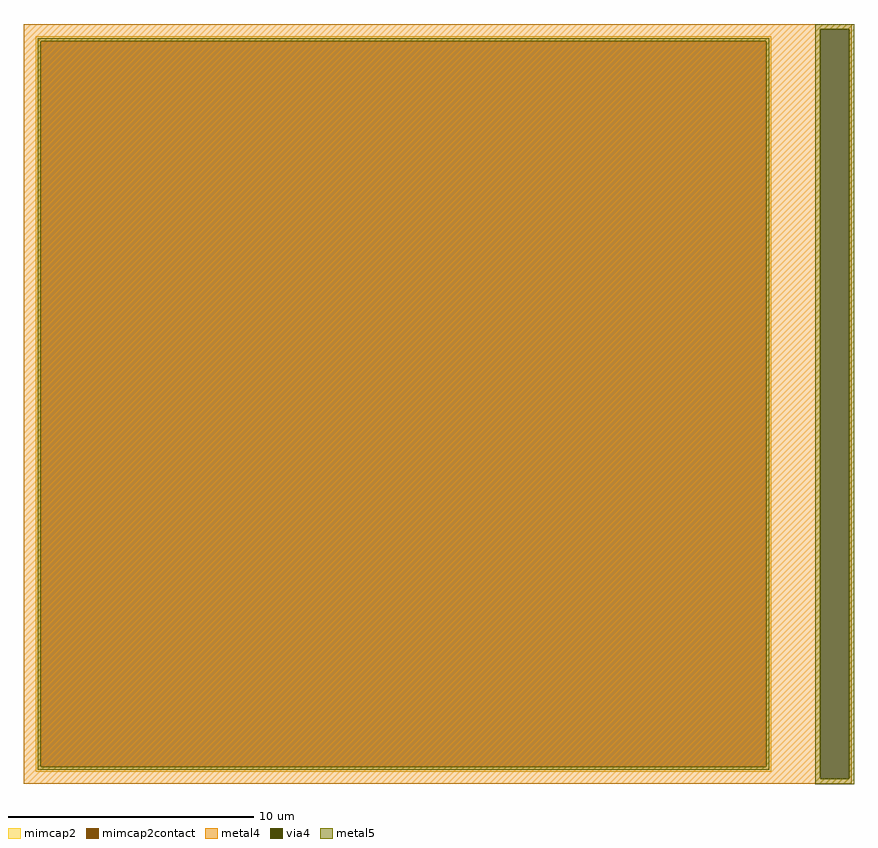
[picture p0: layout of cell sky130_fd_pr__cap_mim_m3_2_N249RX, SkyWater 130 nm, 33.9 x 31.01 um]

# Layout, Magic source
magic
tech sky130A
magscale 1 2
<< metal4 >>
rect -3379 3059 3379 3100
rect -3379 -3059 3123 3059
rect 3359 -3059 3379 3059
rect -3379 -3100 3379 -3059
<< via4 >>
rect 3123 -3059 3359 3059
<< mimcap2 >>
rect -3279 2960 2721 3000
rect -3279 -2960 -3239 2960
rect 2681 -2960 2721 2960
rect -3279 -3000 2721 -2960
<< mimcap2contact >>
rect -3239 -2960 2681 2960
<< metal5 >>
rect 3081 3059 3401 3101
rect -3263 2960 2705 2984
rect -3263 -2960 -3239 2960
rect 2681 -2960 2705 2960
rect -3263 -2984 2705 -2960
rect 3081 -3059 3123 3059
rect 3359 -3059 3401 3059
rect 3081 -3101 3401 -3059
<< properties >>
string gencell sky130_fd_pr__cap_mim_m3_2
string FIXED_BBOX -3379 -3100 2821 3100
string parameters w 30.00 l 30.00 val 920.4 carea 1.00 cperi 0.17 nx 1 ny 1 dummy 0 square 0 lmin 2.00 wmin 2.00 lmax 30.0 wmax 30.0 dc 0 bconnect 1 tconnect 1
string library sky130
<< end >>
